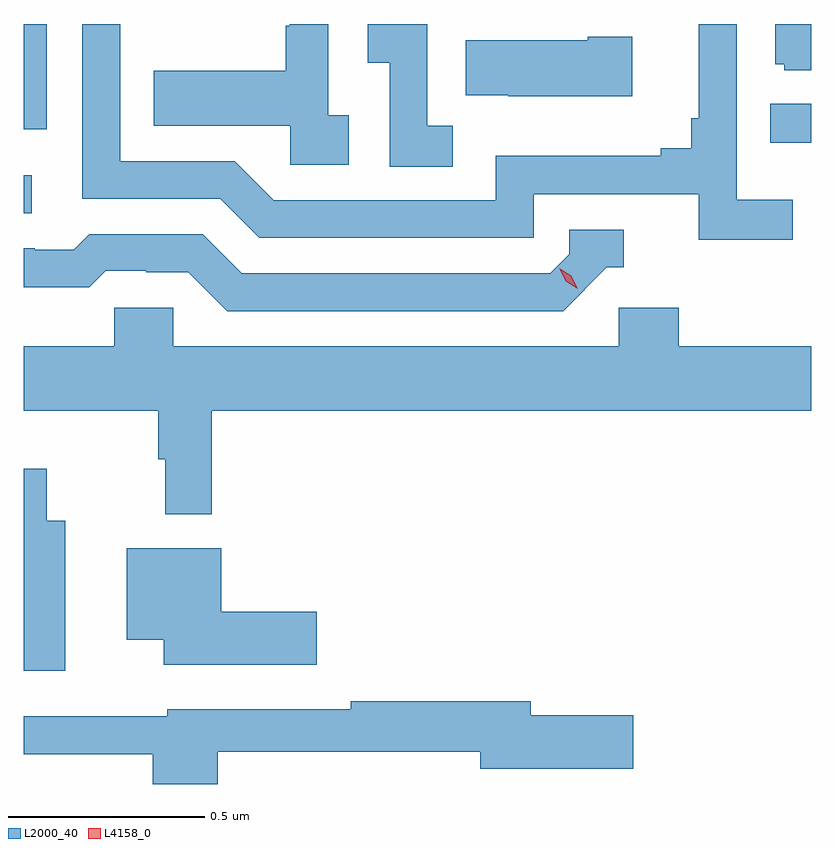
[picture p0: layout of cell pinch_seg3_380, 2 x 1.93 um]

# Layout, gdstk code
import gdstk
lib = gdstk.Library(unit=1e-6, precision=1e-09)
def R(c, l, rs):  # rectangles x0, y0, x1, y1
    for r in rs: c.add(gdstk.rectangle(r[:2], r[2:], *l))
def P(c, l, *ps):  # polygons
    for p in ps: c.add(gdstk.Polygon(p, *l))
L2000_40 = (2000, 40)
L4158_0 = (4158, 0)

pinch_seg3_380 = lib.new_cell('pinch_seg3_380')
R(pinch_seg3_380, L2000_40, [(995.491,701.418,995.512,701.514), (997.387,701.597,997.491,701.696), (995.491,701.631,995.55,701.898)])
P(pinch_seg3_380, L2000_40, [(996.316,701.666),(996.264,701.666),(996.264,701.898),(996.166,701.898),(996.166,701.894),(996.156,701.894),(996.156,701.779),(995.821,701.779),(995.821,701.639),(996.168,701.639),(996.168,701.541),(996.316,701.541)],
  [(997.444,701.452),(997.302,701.452),(997.302,701.898),(997.205,701.898),(997.205,701.659),(997.186,701.659),(997.186,701.582),(997.109,701.582),(997.109,701.563),(996.69,701.563),(996.69,701.451),(996.126,701.451),(996.027,701.55),(995.736,701.55),(995.736,701.898),(995.64,701.898),(995.64,701.454),(995.99,701.454),(996.089,701.355),(996.786,701.355),(996.786,701.466),(997.205,701.466),(997.205,701.35),(997.444,701.35)],
  [(997.491,701.898),(997.4,701.898),(997.4,701.796),(997.422,701.796),(997.422,701.781),(997.491,701.781)],
  [(996.58,701.639),(996.516,701.639),(996.516,701.898),(996.365,701.898),(996.365,701.8),(996.42,701.8),(996.42,701.536),(996.58,701.536)],
  [(997.036,701.865),(996.923,701.865),(996.923,701.857),(996.613,701.857),(996.613,701.717),(996.721,701.717),(996.721,701.714),(997.036,701.714)],
  [(996.972,701.28),(997.015,701.28),(997.015,701.376),(996.876,701.376),(996.876,701.313),(996.828,701.265),(996.045,701.265),(995.946,701.364),(995.657,701.364),(995.618,701.325),(995.519,701.325),(995.519,701.328),(995.491,701.328),(995.491,701.229),(995.657,701.229),(995.699,701.271),(995.802,701.271),(995.802,701.268),(995.909,701.268),(996.008,701.169),(996.861,701.169)],
  [(995.969,700.916),(997.491,700.916),(997.491,701.08),(997.154,701.08),(997.154,701.178),(997.002,701.178),(997.002,701.08),(995.871,701.08),(995.871,701.178),(995.721,701.178),(995.721,701.08),(995.491,701.08),(995.491,700.916),(995.833,700.916),(995.833,700.793),(995.851,700.793),(995.851,700.653),(995.969,700.653)],
  [(995.596,700.636),(995.55,700.636),(995.55,700.768),(995.491,700.768),(995.491,700.256),(995.596,700.256)],
  [(996.235,700.406),(995.992,700.406),(995.992,700.567),(995.753,700.567),(995.753,700.334),(995.846,700.334),(995.846,700.271),(996.235,700.271)],
  [(995.984,700.05),(996.65,700.05),(996.65,700.007),(997.039,700.007),(997.039,700.142),(996.778,700.142),(996.778,700.178),(996.322,700.178),(996.322,700.158),(995.856,700.158),(995.856,700.14),(995.491,700.14),(995.491,700.043),(995.819,700.043),(995.819,699.968),(995.984,699.968)])
P(pinch_seg3_380, L4158_0, [(996.898,701.226),(996.867,701.245),(996.851,701.278),(996.851,701.278),(996.851,701.278),(996.882,701.259),(996.898,701.226),(996.898,701.226)])

lib.write_gds('pinch_seg3_380.gds')
